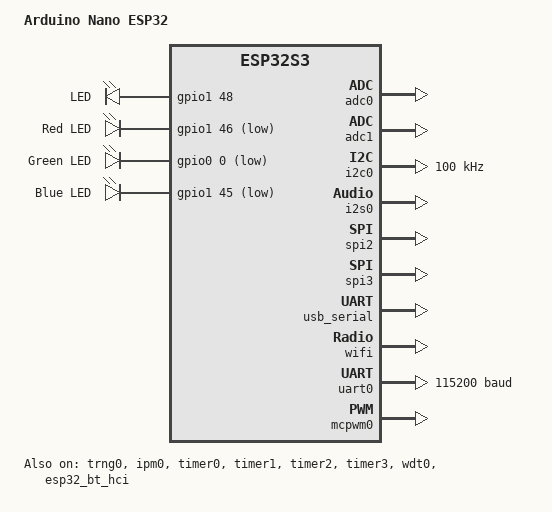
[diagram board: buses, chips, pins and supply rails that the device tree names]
/*
 * Copyright (c) 2026 ARDUINO SRL
 * SPDX-License-Identifier: Apache-2.0
 */

/dts-v1/;

#include <espressif/esp32s3/esp32s3_wroom_n16r8.dtsi>
#include <zephyr/dt-bindings/input/input-event-codes.h>
#include <zephyr/dt-bindings/pinctrl/esp32s3-pinctrl.h>
// #include <espressif/partitions_0x0_amp_16M.dtsi>
#include "arduino_nano_connector.dtsi"
#include "arduino_nano_esp32-pinctrl.dtsi"

/ {
	model = "Arduino Nano ESP32";
	compatible = "espressif,esp32s3";

	aliases {
		i2c-0 = &i2c0;
		watchdog0 = &wdt0;
		led0 = &led0;
		led1 = &red_led;
		led2 = &green_led;
		led3 = &blue_led;
		sdhc0 = &sdhc0;
	};

	chosen {
		zephyr,sram = &sram1;
		zephyr,console = &usb_serial;
		zephyr,shell-uart = &usb_serial;
		zephyr,flash = &flash0;
		zephyr,code-partition = &slot0_partition;
		zephyr,bt-hci = &esp32_bt_hci;
		zephyr,sdhc = &sdhc0;
	};

	leds {
		compatible = "gpio-leds";

		led0: led_0 {
			gpios = <&gpio1 48 GPIO_ACTIVE_HIGH>;
			label = "LED";
		};

		red_led: led_1 {
			gpios = <&gpio1 46 GPIO_ACTIVE_LOW>;
			label = "Red LED";
		};

		green_led: led_2 {
			gpios = <&gpio0 0 GPIO_ACTIVE_LOW>;
			label = "Green LED";
		};

		blue_led: led_3 {
			gpios = <&gpio1 45 GPIO_ACTIVE_LOW>;
			label = "Blue LED";
		};
	};
};

&dma {
	status = "okay";
};

&adc0 {
	status = "okay";
};

&adc1 {
	status = "okay";
};

&i2c0 {
	clock-frequency = <I2C_BITRATE_STANDARD>;
	status = "okay";
	pinctrl-0 = <&i2c0_default>;
	pinctrl-names = "default";
};

&trng0 {
	status = "okay";
};

&ipm0 {
	status = "okay";
};

&i2s0 {
	status = "okay";
	pinctrl-0 = <&i2s0_default>;
	pinctrl-names = "default";
};

&spi2 {
	#address-cells = <1>;
	#size-cells = <0>;
	status = "okay";
	pinctrl-0 = <&spim2_default>;
	pinctrl-names = "default";
};

&spi3 {
	#address-cells = <1>;
	#size-cells = <0>;
	status = "okay";
	pinctrl-0 = <&spim3_default>;
	pinctrl-names = "default";
};


&usb_serial {
	status = "okay";
};

&timer0 {
	status = "okay";
};

&timer1 {
	status = "okay";
};

&timer2 {
	status = "okay";
};

&timer3 {
	status = "okay";
};

&gpio0 {
	status = "okay";
};

&gpio1 {
	status = "okay";
};

&wdt0 {
	status = "okay";
};

&esp32_bt_hci {
	status = "okay";
};

&wifi {
	status = "okay";
};

&uart0 {
	status = "okay";
	current-speed = <115200>;
	pinctrl-0 = <&uart0_default>;
	pinctrl-names = "default";
};

&mcpwm0 {
	status = "okay";
	pinctrl-0 = <&mcpwm0_default>;
	pinctrl-names = "default";
	prescale = <255>;
	prescale-timer0 = <100>;
	prescale-timer1 = <100>;
};
